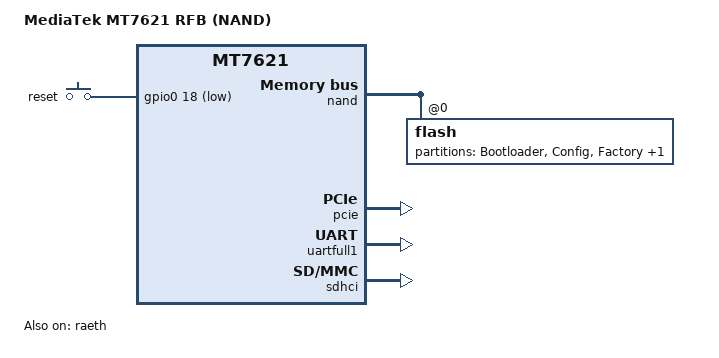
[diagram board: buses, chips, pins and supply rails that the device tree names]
/dts-v1/;

#include "mt7621.dtsi"
#include <dt-bindings/input/input.h>

/ {
	compatible = "mediatek,mt7621-rfb-nand", "mediatek,mt7621-soc";
	model = "MediaTek MT7621 RFB (NAND)";

	chosen {
		bootargs = "console=ttyS0,115200";
	};

	gpio-keys-polled {
		compatible = "gpio-keys-polled";
		#address-cells = <1>;
		#size-cells = <0>;
		poll-interval = <20>;

		reset {
			label = "reset";
			gpios = <&gpio0 18 1>;
			linux,code = <KEY_RESTART>;
		};
	};
};


&raeth {
	mac-address = [00 00 00 00 00 00];
	wan_at = "p0";
	gmac1-support = "rgmii-1";
	rgmii-mode-1 = "force-1000";
	gmac2-support = "rgmii-2";
	rgmii-mode-2 = "force-1000";
	gmac2-phy-address = <0>;
	gmac1_txq_num = <1>;
	gmac1_txq_txd_num = <1024>;
	gmac2_txq_num = <1>;
	gmac2_txq_txd_num = <1024>;
	num_rx_desc = <1024>;
	status = "okay";
};

&nand {
	status = "okay";

	flash@0 {
		reg = <0>;
		nand-ecc-mode = "hw";
		partitions {
			compatible = "fixed-partitions";
			#address-cells = <1>;
			#size-cells = <1>;

			partition@0 {
				label = "Bootloader";
				reg = <0x00000 0x0080000>;
				read-only;
			};

			partition@80000 {
				label = "Config";
				reg = <0x80000 0x0080000>;
			};

			partition@100000 {
				label = "Factory";
				reg = <0x100000 0x500000>;
			};

			partition@140000 {
				label = "firmware";
				reg = <0x600000 0x7980000>;
			};
		};
	};
};

&pcie {
	status = "okay";
};

&pinctrl {
	state_default: pinctrl0 {
		gpio {
			mtk,group = "i2c", "uart3";
			mtk,function = "gpio";
		};

		uart2 {
			mtk,group = "uart2";
			mtk,function = "uart2";
		};
	};
};

&uartfull1 {
	status = "okay";
};

&sdhci {
	status = "okay";

	pinctrl-names = "default";
	pinctrl-0 = <&sdhci_pins>;
};


